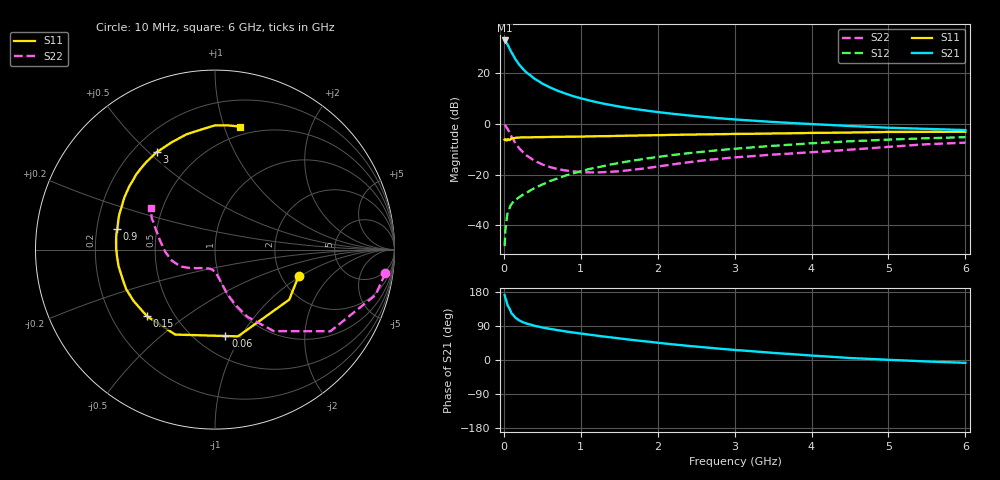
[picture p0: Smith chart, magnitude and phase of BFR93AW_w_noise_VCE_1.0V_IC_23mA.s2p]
! Infineon Technologies  Discrete & RF Semiconductors
! BFR93AW
! VCE =  1.0 V,  IC =  23 mA
! Common Emitter S-Parameters:  Jan 2017
# GHz  S  MA  R  50
!  f  S11  S21  S12  S22
! GHz  MAG  ANG  MAG  ANG  MAG  ANG  MAG  ANG
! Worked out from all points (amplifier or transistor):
!   77 points, 10 MHz to 6 GHz, reference 50 ohm
!   highest |S21| = 32.8 dB at 10 MHz (marker M1)
!   |S21| within 3 dB of that: start of sweep to 71.79 MHz
!   unconditionally stable (mu >= 1): 494.1 MHz to 2.515 GHz
!   at 130 MHz: K = 0.52, MSG = 28.6 dB, |S12| = -30.6 dB
!   at 2.2 GHz: K = 1.02, MAG = 7.3 dB, |S12| = -12.3 dB
!   at 6 GHz: K = 0.95, MSG = 1.4 dB, |S12| = -5.3 dB
!   lowest NFmin = 1.60 dB at 450 MHz
!   S11 on the Smith chart (normalised r, x): 10 MHz: 2.48, -0.96; 60 MHz: 0.68, -0.86; 150 MHz: 0.35, -0.36; 900 MHz: 0.29, +0.09; 3 GHz: 0.29, +0.53; 6 GHz: 0.42, +1.13
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0.01  0.4885 -17.5  43.71 171.7  0.0039 80.9  0.9586 -7.9
0.02  0.4988 -34.0  42.98 163.8  0.008 83.8  0.9292 -15.8
0.05  0.5002 -75.2  36.04 143.4  0.0179 63.9  0.7876 -35.3
0.06  0.485 -83.1  33.64 140.4  0.0196 62.0  0.7367 -38.1
0.1  0.5227 -115.1  25.41 122.9  0.0265 56.7  0.5589 -54.3
0.15  0.5305 -135.5  18.72 111.7  0.0317 52.8  0.4162 -64.2
0.2  0.5363 -147.7  14.62 104.6  0.0359 54.3  0.3297 -69.6
0.25  0.5419 -155.9  11.96 99.5  0.0404 55.7  0.2747 -73.1
0.3  0.5402 -161.8  10.07 95.9  0.0442 58.0  0.2344 -75.8
0.4  0.5451 -170.2  7.692 90.2  0.0544 60.8  0.1867 -79.4
0.5  0.5473 -176.2  6.193 85.8  0.0637 63.0  0.1587 -82.5
0.6  0.5508 179.1  5.203 82.1  0.0745 64.4  0.1407 -85.6
0.7  0.553 175.2  4.478 78.8  0.0842 65.7  0.1285 -88.3
0.9  0.5565 168.3  3.507 72.6  0.1057 66.0  0.1161 -94.9
1.1  0.5644 162.3  2.909 67.2  0.1279 65.9  0.1109 -102.1
1.5  0.5786 152.0  2.183 57.1  0.1696 63.8  0.1162 -117.7
2.1  0.6012 138.5  1.635 43.4  0.2329 58.6  0.1515 -137.1
3  0.6321 121.0  1.219 26.5  0.3226 49.4  0.2181 -155.8
3.1  0.6334 119.2  1.191 25.1  0.3316 48.2  0.2235 -157.9
4.1  0.6631 102.4  0.971 10.5  0.4209 37.1  0.2819 -179.6
5.1  0.6923 88.8  0.828 -0.3  0.494 25.8  0.36 158.9
6  0.6993 78.6  0.752 -7.4  0.5463 16.0  0.4259 146.8
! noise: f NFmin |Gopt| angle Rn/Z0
0.45  1.6  0.15  166  0.15
0.9  1.88  0.24  177  0.16
1.9  2.89  0.48  -138  0.24
2.4  3.53  0.55  -126  0.48
